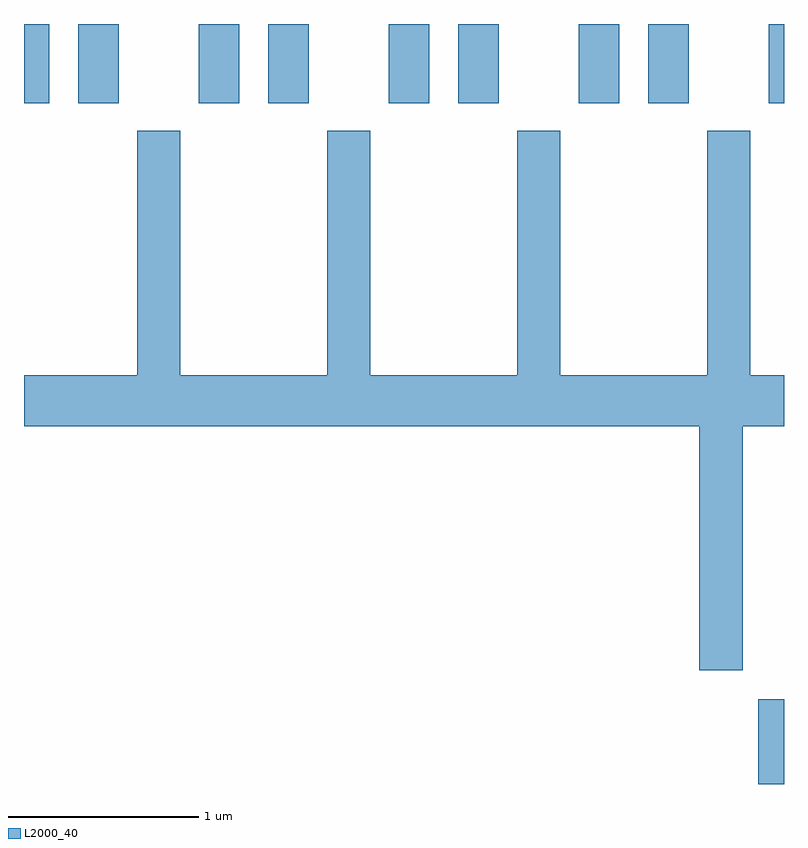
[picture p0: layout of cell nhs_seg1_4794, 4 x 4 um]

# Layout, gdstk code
import gdstk
lib = gdstk.Library(unit=1e-6, precision=1e-09)
def R(c, l, rs):  # rectangles x0, y0, x1, y1
    for r in rs: c.add(gdstk.rectangle(r[:2], r[2:], *l))
def P(c, l, *ps):  # polygons
    for p in ps: c.add(gdstk.Polygon(p, *l))
L2000_40 = (2000, 40)

nhs_seg1_4794 = lib.new_cell('nhs_seg1_4794')
R(nhs_seg1_4794, L2000_40, [(333.476,877.712,333.611,878.159), (329.611,881.296,329.744,881.712), (329.896,881.296,330.109,881.712), (330.531,881.296,330.744,881.712), (330.896,881.296,331.109,881.712), (331.531,881.296,331.744,881.712), (331.896,881.296,332.109,881.712), (332.531,881.296,332.744,881.712), (332.896,881.296,333.109,881.712), (333.531,881.296,333.611,881.712)])
P(nhs_seg1_4794, L2000_40, [(333.394,879.596),(333.611,879.596),(333.611,879.864),(333.434,879.864),(333.434,881.149),(333.206,881.149),(333.206,879.864),(332.434,879.864),(332.434,881.149),(332.206,881.149),(332.206,879.864),(331.434,879.864),(331.434,881.149),(331.206,881.149),(331.206,879.864),(330.434,879.864),(330.434,881.149),(330.206,881.149),(330.206,879.864),(329.611,879.864),(329.611,879.596),(333.166,879.596),(333.166,878.311),(333.394,878.311)])

lib.write_gds('nhs_seg1_4794.gds')
